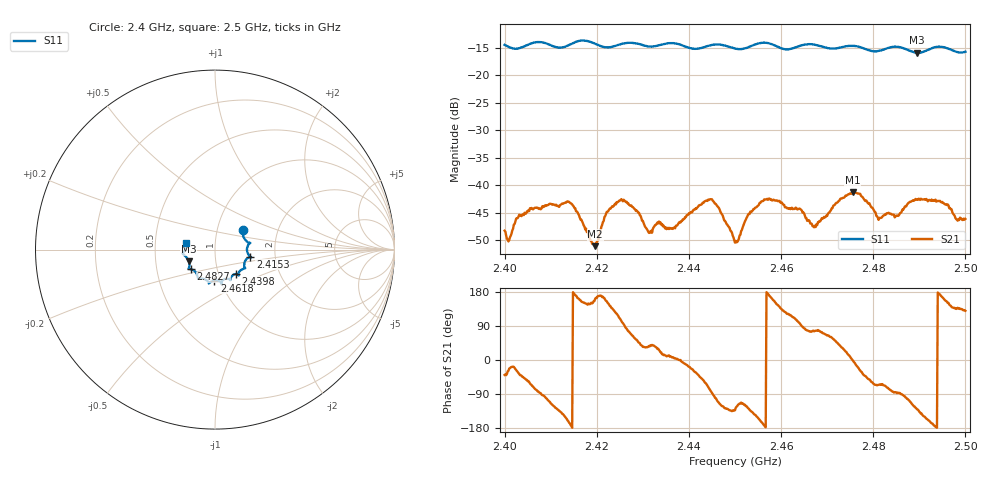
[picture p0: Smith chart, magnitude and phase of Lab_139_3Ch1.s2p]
# Hz S RI R 50
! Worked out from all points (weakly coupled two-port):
!   601 points, 2.4 GHz to 2.5 GHz, reference 50 ohm
!   highest |S21| = -41.30 dB at 2.4755 GHz (marker M1); lowest = -51.1 dB at 2.4197 GHz (marker M2)
!   lowest |S11| = -15.9 dB at 2.4895 GHz (marker M3), VSWR 1.38, Z = 37 - j5 ohm
!   |S11| at or under -10 dB: start of sweep to end of sweep
!   S12 and S22 are empty: the file has one direction only
!   S11 on the Smith chart (normalised r, x): 2.4 GHz: 1.33, +0.30; 2.4153 GHz: 1.48, -0.12; 2.4398 GHz: 1.21, -0.34; 2.4618 GHz: 0.94, -0.33; 2.4827 GHz: 0.75, -0.17; 2.5 GHz: 0.72, +0.06
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2.4e9  0.1555 0.1071  0.00299 -0.00245  0 0  0 0
2.401e9  0.1554 0.0912  0.00293 -0.00121  0 0  0 0
2.402833e9  0.1634 0.0617  0.00429 -0.00263  0 0  0 0
2.406e9  0.1924 0.0376  0.00222 -0.00569  0 0  0 0
2.415333e9  0.1962 -0.0389  -0.00609 0.000972  0 0  0 0
2.416667e9  0.2023 -0.0428  -0.00438 0.00211  0 0  0 0
2.419667e9  0.1881 -0.0439  -0.00266 0.000867  0 0  0 0
2.422167e9  0.1666 -0.0661  -0.00518 0.00241  0 0  0 0
2.425e9  0.1646 -0.0963  -0.00246 0.00681  0 0  0 0
2.4315e9  0.1387 -0.1185  0.00306 0.00223  0 0  0 0
2.433333e9  0.1305 -0.1334  0.00391 0.00223  0 0  0 0
2.439833e9  0.1157 -0.1359  0.00518 -0.00154  0 0  0 0
2.445e9  0.0845 -0.1685  0.000394 -0.00744  0 0  0 0
2.45e9  0.0654 -0.1623  -0.00204 -0.00221  0 0  0 0
2.456167e9  0.0387 -0.1938  -0.00712 -0.00123  0 0  0 0
2.461833e9  -0.00299 -0.1727  -0.00297 0.00543  0 0  0 0
2.466667e9  -0.0344 -0.1883  0.00114 0.00431  0 0  0 0
2.4755e9  -0.094 -0.1597  0.00861 -3.52e-07  0 0  0 0
2.482667e9  -0.1351 -0.1092  0.00193 -0.00502  0 0  0 0
2.483333e9  -0.1402 -0.1087  0.00137 -0.00545  0 0  0 0
2.4895e9  -0.1458 -0.0659  -0.00477 -0.00567  0 0  0 0
2.5e9  -0.1592 0.0386  -0.00316 0.0038  0 0  0 0
